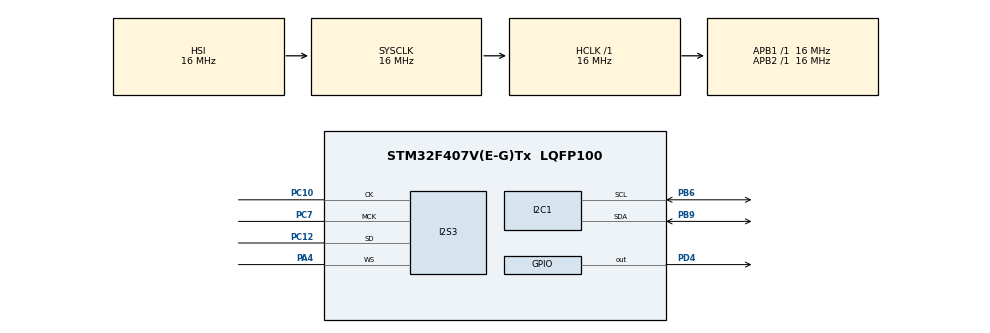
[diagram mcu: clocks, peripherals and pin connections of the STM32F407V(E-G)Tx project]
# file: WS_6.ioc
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Dma.Request0=SPI3_TX
Dma.SPI3_TX.0.Direction=DMA_MEMORY_TO_PERIPH
Dma.SPI3_TX.0.FIFOMode=DMA_FIFOMODE_ENABLE
Dma.SPI3_TX.0.FIFOThreshold=DMA_FIFO_THRESHOLD_FULL
Dma.SPI3_TX.0.Instance=DMA1_Stream5
Dma.SPI3_TX.0.MemBurst=DMA_MBURST_SINGLE
Dma.SPI3_TX.0.MemDataAlignment=DMA_MDATAALIGN_HALFWORD
Dma.SPI3_TX.0.MemInc=DMA_MINC_ENABLE
Dma.SPI3_TX.0.Mode=DMA_CIRCULAR
Dma.SPI3_TX.0.PeriphBurst=DMA_PBURST_SINGLE
Dma.SPI3_TX.0.PeriphDataAlignment=DMA_PDATAALIGN_HALFWORD
Dma.SPI3_TX.0.PeriphInc=DMA_PINC_DISABLE
Dma.SPI3_TX.0.Priority=DMA_PRIORITY_LOW
I2S3.AudioFreq=I2S_AUDIOFREQ_48K
I2S3.ErrorAudioFreq=-2.34 %
I2S3.FullDuplexMode=I2S_FULLDUPLEXMODE_DISABLE
I2S3.Instance=SPI$Index
I2S3.RealAudioFreq=46.875 KHz
I2S3.VirtualMode=I2S_MODE_MASTER
Mcu.Family=STM32F4
Mcu.Name=STM32F407V(E-G)Tx
Mcu.Package=LQFP100
NVIC.DMA1_Stream5_IRQn=true\:0\:0\:false\:false\:true\:false\:true\:true
NVIC.PriorityGroup=NVIC_PRIORITYGROUP_4
PA4.Mode=Half_Duplex_Master
PA4.Signal=I2S3_WS
PB6.Mode=I2C
PB6.Signal=I2C1_SCL
PB9.Mode=I2C
PB9.Signal=I2C1_SDA
PC10.Mode=Half_Duplex_Master
PC10.Signal=I2S3_CK
PC12.Mode=Half_Duplex_Master
PC12.Signal=I2S3_SD
PC7.Mode=Master_Clock_Activated
PC7.Signal=I2S3_MCK
PD4.Signal=GPIO_Output
ProjectManager.HeapSize=0x200
ProjectManager.StackSize=0x400
ProjectManager.TargetToolchain=STM32CubeIDE
RCC.AHBFreq_Value=16000000
RCC.APB1Freq_Value=16000000
RCC.APB2Freq_Value=16000000
RCC.CortexFreq_Value=16000000
RCC.HSE_VALUE=25000000
RCC.HSI_VALUE=16000000
RCC.LSE_VALUE=32768
RCC.SYSCLKFreq_VALUE=16000000
RCC.VCOOutputFreq_Value=192000000
board=custom

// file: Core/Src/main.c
/* USER CODE BEGIN Header */
/**
  ******************************************************************************
  * @file           : main.c
  * @brief          : Main program body
  ******************************************************************************
  * @attention
  *
  * Copyright (c) 2025 STMicroelectronics.
  * All rights reserved.
  *
  * This software is licensed under terms that can be found in the LICENSE file
  * in the root directory of this software component.
  * If no LICENSE file comes with this software, it is provided AS-IS.
  *
  ******************************************************************************
  */
/* USER CODE END Header */
#include "main.h"

/* USER CODE BEGIN PTD */
typedef enum
{
	C4, // 0x0
	C5, // 0x1
	D5, // 0x2
	E5, // 0x3
	F5, // 0x4
	G5, // 0x5
	A5, // 0x6
	B5, // 0x7
	C6, // 0x8
	D6, // 0x9
	E6, // 0xA
	F6, // 0xB
	G6, // 0xC
	A6, // 0xD
	B6, // 0xE
	C7, // 0xF
	MAX_VALUE
} soundToneType;
/* USER CODE END PTD */

/* USER CODE BEGIN PD */
#define CS43L22_I2C_ADDRESS		0x94
#define I2C_TIMEOUT				10
/* USER CODE END PD */

I2C_HandleTypeDef hi2c1;

I2S_HandleTypeDef hi2s3;
DMA_HandleTypeDef hdma_spi3_tx;

/* USER CODE BEGIN PV */
int16_t dataI2S[100] = {0};
/* USER CODE END PV */

void SystemClock_Config(void);
static void MX_GPIO_Init(void);
static void MX_DMA_Init(void);
static void MX_I2C1_Init(void);
static void MX_I2S3_Init(void);

/* USER CODE BEGIN 0 */
void CS43L22_Init(void)
{
	// Enable chip
	HAL_GPIO_WritePin(GPIOD, GPIO_PIN_4, GPIO_PIN_SET);

	//
	// Initialization
	//
	uint8_t TxBuffer[2];

	TxBuffer[0] = 0x0D;
	TxBuffer[1] = 0x01;
	HAL_I2C_Master_Transmit(&hi2c1, CS43L22_I2C_ADDRESS, (uint8_t*) &TxBuffer, 2, I2C_TIMEOUT);

	TxBuffer[0] = 0x00;
	TxBuffer[1] = 0x99;
	HAL_I2C_Master_Transmit(&hi2c1, CS43L22_I2C_ADDRESS, (uint8_t*) &TxBuffer, 2, I2C_TIMEOUT);

	TxBuffer[0] = 0x47;
	TxBuffer[1] = 0x80;
	HAL_I2C_Master_Transmit(&hi2c1, CS43L22_I2C_ADDRESS, (uint8_t*) &TxBuffer, 2, I2C_TIMEOUT);

	TxBuffer[0] = 0x32;
	TxBuffer[1] = 0xFF;
	HAL_I2C_Master_Transmit(&hi2c1, CS43L22_I2C_ADDRESS, (uint8_t*) &TxBuffer, 2, I2C_TIMEOUT);

	TxBuffer[0] = 0x32;
	TxBuffer[1] = 0x7F;
	HAL_I2C_Master_Transmit(&hi2c1, CS43L22_I2C_ADDRESS, (uint8_t*) &TxBuffer, 2, I2C_TIMEOUT);

	TxBuffer[0] = 0x00;
	TxBuffer[1] = 0x00;
	HAL_I2C_Master_Transmit(&hi2c1, CS43L22_I2C_ADDRESS, (uint8_t*) &TxBuffer, 2, I2C_TIMEOUT);

	TxBuffer[0] = 0x04;
	TxBuffer[1] = 0xAF;
	HAL_I2C_Master_Transmit(&hi2c1, CS43L22_I2C_ADDRESS, (uint8_t*) &TxBuffer, 2, I2C_TIMEOUT);

	TxBuffer[0] = 0x0D;
	TxBuffer[1] = 0x70;
	HAL_I2C_Master_Transmit(&hi2c1, CS43L22_I2C_ADDRESS, (uint8_t*) &TxBuffer, 2, I2C_TIMEOUT);

	TxBuffer[0] = 0x05;
	TxBuffer[1] = 0x81;
	HAL_I2C_Master_Transmit(&hi2c1, CS43L22_I2C_ADDRESS, (uint8_t*) &TxBuffer, 2, I2C_TIMEOUT);

	TxBuffer[0] = 0x06;
	TxBuffer[1] = 0x07;
	HAL_I2C_Master_Transmit(&hi2c1, CS43L22_I2C_ADDRESS, (uint8_t*) &TxBuffer, 2, I2C_TIMEOUT);

	TxBuffer[0] = 0x0A;
	TxBuffer[1] = 0x00;
	HAL_I2C_Master_Transmit(&hi2c1, CS43L22_I2C_ADDRESS, (uint8_t*) &TxBuffer, 2, I2C_TIMEOUT);

	TxBuffer[0] = 0x27;
	TxBuffer[1] = 0x00;
	HAL_I2C_Master_Transmit(&hi2c1, CS43L22_I2C_ADDRESS, (uint8_t*) &TxBuffer, 2, I2C_TIMEOUT);

	TxBuffer[0] = 0x1A;
	TxBuffer[1] = 0x0A;
	HAL_I2C_Master_Transmit(&hi2c1, CS43L22_I2C_ADDRESS, (uint8_t*) &TxBuffer, 2, I2C_TIMEOUT);

	TxBuffer[0] = 0x1B;
	TxBuffer[1] = 0x0A;
	HAL_I2C_Master_Transmit(&hi2c1, CS43L22_I2C_ADDRESS, (uint8_t*) &TxBuffer, 2, I2C_TIMEOUT);

	TxBuffer[0] = 0x1F;
	TxBuffer[1] = 0x0F;
	HAL_I2C_Master_Transmit(&hi2c1, CS43L22_I2C_ADDRESS, (uint8_t*) &TxBuffer, 2, I2C_TIMEOUT);

	TxBuffer[0] = 0x02;
	TxBuffer[1] = 0x9E;
	HAL_I2C_Master_Transmit(&hi2c1, CS43L22_I2C_ADDRESS, (uint8_t*) &TxBuffer, 2, I2C_TIMEOUT);
}

void CS43L22_Beep(soundToneType pitch, uint32_t duration_ms)
{
	uint8_t TxBuffer[2];

	// Set volume and off time
	TxBuffer[0] = 0x1D;		// Register address
	TxBuffer[1] = 0x00;		// Value (volume and off time)
	HAL_I2C_Master_Transmit(&hi2c1, CS43L22_I2C_ADDRESS, (uint8_t*) &TxBuffer, 2, I2C_TIMEOUT);

	// Set sound frequency
	TxBuffer[0] = 0x1C;		// Register address
	switch (pitch)
	{
	        case C4:
				TxBuffer[1] = 0x00;    // Value (frequency and on time)
				break;
			case C5:
				TxBuffer[1] = 0x10;
				break;
			case D5:
				TxBuffer[1] = 0x20;
				break;
			case E5:
				TxBuffer[1] = 0x30;
				break;
			case F5:
				TxBuffer[1] = 0x40;
				break;
			case G5:
				TxBuffer[1] = 0x50;
				break;
			case A5:
				TxBuffer[1] = 0x60;
				break;
			case B5:
				TxBuffer[1] = 0x70;
				break;
			case C6:
				TxBuffer[1] = 0x80;
				break;
			case D6:
				TxBuffer[1] = 0x90;
				break;
			case E6:
				TxBuffer[1] = 0xA0;
				break;
			case F6:
				TxBuffer[1] = 0xB0;
				break;
			case G6:
				TxBuffer[1] = 0xC0;
				break;
			case A6:
				TxBuffer[1] = 0xD0;
				break;
			case B6:
				TxBuffer[1] = 0xE0;
				break;
			case C7:
				TxBuffer[1] = 0xF0;
				break;
		// Assume C4 for all other cases
		case MAX_VALUE:
		default:
			TxBuffer[1] = 0x00;		// Value (frequency and on time)
			break;
	}
	HAL_I2C_Master_Transmit(&hi2c1, CS43L22_I2C_ADDRESS, (uint8_t*) &TxBuffer, 2, I2C_TIMEOUT);

	// Enable continuous mode (SOUND STARTED)
	TxBuffer[0] = 0x1E;		// Register address
	TxBuffer[1] = 0xC0;		// Value (beep and tone configuration)
	HAL_I2C_Master_Transmit(&hi2c1, CS43L22_I2C_ADDRESS, (uint8_t*) &TxBuffer, 2, I2C_TIMEOUT);

	// Playing...
	HAL_Delay(duration_ms);

	// Disable continuous mode (SOUND STOPED)
	TxBuffer[0] = 0x1E;		// Register address
	TxBuffer[1] = 0x00;		// Value (beep and tone configuration)
	HAL_I2C_Master_Transmit(&hi2c1, CS43L22_I2C_ADDRESS, (uint8_t*) &TxBuffer, 2, I2C_TIMEOUT);
}
/* USER CODE END 0 */

int main(void)
{

  /* MCU Configuration--------------------------------------------------------*/

  /* Reset of all peripherals, Initializes the Flash interface and the Systick. */
  HAL_Init();

  /* Configure the system clock */
  SystemClock_Config();

  /* Initialize all configured peripherals */
  MX_GPIO_Init();
  MX_DMA_Init();
  MX_I2C1_Init();
  MX_I2S3_Init();
  /* USER CODE BEGIN 2 */
  // Init DAC
    CS43L22_Init();

    // Transmit empty data
    HAL_I2S_Transmit_DMA(&hi2s3, (uint16_t *)dataI2S, 100);
  /* USER CODE END 2 */

  /* Infinite loop */
  /* USER CODE BEGIN WHILE */
    /* USER CODE BEGIN WHILE */
    /* USER CODE BEGIN WHILE */
      while (1)
      {
          // --- Фраза 1: "Si-lent Night" ---
          CS43L22_Beep(G5, 642);  // Sol (dotted quarter)
          CS43L22_Beep(A5, 214);  // La (eighth)
          CS43L22_Beep(G5, 428);  // Sol (quarter)
          CS43L22_Beep(E5, 1285); // Mi (dotted half)

          // --- Фраза 2: "Ho-ly Night" ---
          CS43L22_Beep(G5, 642);  // Sol
          CS43L22_Beep(A5, 214);  // La
          CS43L22_Beep(G5, 428);  // Sol
          CS43L22_Beep(E5, 1285); // Mi

          // --- Фраза 3: "All is calm" ---
          CS43L22_Beep(D6, 857);  // Re (high) (half)
          CS43L22_Beep(D6, 428);  // Re (high) (quarter)
          CS43L22_Beep(B5, 1285); // Si (dotted half)

          // --- Фраза 4: "All is bright" ---
          CS43L22_Beep(C6, 857);  // Do (high) (half)
          CS43L22_Beep(C6, 428);  // Do (high) (quarter)
          CS43L22_Beep(G5, 1285); // Sol (dotted half)

          // --- Фраза 5: "Round yon Virgin..." ---
          CS43L22_Beep(A5, 857);  // La (half)
          CS43L22_Beep(A5, 428);  // La (quarter)
          CS43L22_Beep(C6, 642);  // Do (high) (dotted quarter)
          CS43L22_Beep(B5, 214);  // Si (eighth)
          CS43L22_Beep(A5, 428);  // La (quarter)

          // --- Фраза 6: "...Mother and Child" ---
          CS43L22_Beep(G5, 642);  // Sol
          CS43L22_Beep(A5, 214);  // La
          CS43L22_Beep(G5, 428);  // Sol
          CS43L22_Beep(E5, 1285); // Mi

          // --- Фраза 7: "Holy Infant so..." (повтор мотиву) ---
          CS43L22_Beep(A5, 857);  // La
          CS43L22_Beep(A5, 428);  // La
          CS43L22_Beep(C6, 642);  // Do (high)
          CS43L22_Beep(B5, 214);  // Si
          CS43L22_Beep(A5, 428);  // La

          // --- Фраза 8: "...tender and mild" ---
          CS43L22_Beep(G5, 642);  // Sol
          CS43L22_Beep(A5, 214);  // La
          CS43L22_Beep(G5, 428);  // Sol
          CS43L22_Beep(E5, 1285); // Mi

          // --- Фраза 9: "Sleep in heavenly peace" ---
          CS43L22_Beep(D6, 857);  // Re (high)
          CS43L22_Beep(D6, 428);  // Re (high)
          CS43L22_Beep(F6, 642);  // Fa (high)
          CS43L22_Beep(D6, 214);  // Re (high)
          CS43L22_Beep(B5, 428);  // Si
          CS43L22_Beep(C6, 1285); // Do (high)

          // --- Фраза 10: "Sleep in heavenly peace" (фінал) ---
          CS43L22_Beep(E6, 1285); // Mi (high) - перехід

          CS43L22_Beep(C6, 428);  // Do (high)
          CS43L22_Beep(G5, 428);  // Sol
          CS43L22_Beep(E5, 428);  // Mi
          CS43L22_Beep(G5, 642);  // Sol
          CS43L22_Beep(F5, 214);  // Fa
          CS43L22_Beep(D5, 428);  // Re

          CS43L22_Beep(C5, 1285); // Do (dotted half)
          CS43L22_Beep(C5, 2571); // Do (dotted whole - затухання)

          // Пауза перед повтором
          HAL_Delay(3000);
      }
      /* USER CODE END WHILE */
      /* USER CODE END WHILE */
  /* USER CODE END 3 */
}

void SystemClock_Config(void)
{
  RCC_OscInitTypeDef RCC_OscInitStruct = {0};
  RCC_ClkInitTypeDef RCC_ClkInitStruct = {0};

  /** Macro to configure the PLL multiplication factor
  */
  __HAL_RCC_PLL_PLLM_CONFIG(16);

  /** Macro to configure the PLL clock source
  */
  __HAL_RCC_PLL_PLLSOURCE_CONFIG(RCC_PLLSOURCE_HSI);

  /** Configure the main internal regulator output voltage
  */
  __HAL_RCC_PWR_CLK_ENABLE();
  __HAL_PWR_VOLTAGESCALING_CONFIG(PWR_REGULATOR_VOLTAGE_SCALE1);

  /** Initializes the RCC Oscillators according to the specified parameters
  * in the RCC_OscInitTypeDef structure.
  */
  RCC_OscInitStruct.OscillatorType = RCC_OSCILLATORTYPE_HSI;
  RCC_OscInitStruct.HSIState = RCC_HSI_ON;
  RCC_OscInitStruct.HSICalibrationValue = RCC_HSICALIBRATION_DEFAULT;
  RCC_OscInitStruct.PLL.PLLState = RCC_PLL_NONE;
  RCC_OscInitStruct.PLL.PLLSource = RCC_PLLSOURCE_HSI;
  if (HAL_RCC_OscConfig(&RCC_OscInitStruct) != HAL_OK)
  {
    Error_Handler();
  }

  /** Initializes the CPU, AHB and APB buses clocks
  */
  RCC_ClkInitStruct.ClockType = RCC_CLOCKTYPE_HCLK|RCC_CLOCKTYPE_SYSCLK
                              |RCC_CLOCKTYPE_PCLK1|RCC_CLOCKTYPE_PCLK2;
  RCC_ClkInitStruct.SYSCLKSource = RCC_SYSCLKSOURCE_HSI;
  RCC_ClkInitStruct.AHBCLKDivider = RCC_SYSCLK_DIV1;
  RCC_ClkInitStruct.APB1CLKDivider = RCC_HCLK_DIV1;
  RCC_ClkInitStruct.APB2CLKDivider = RCC_HCLK_DIV1;

  if (HAL_RCC_ClockConfig(&RCC_ClkInitStruct, FLASH_LATENCY_0) != HAL_OK)
  {
    Error_Handler();
  }
}

static void MX_I2C1_Init(void)
{

  hi2c1.Instance = I2C1;
  hi2c1.Init.ClockSpeed = 100000;
  hi2c1.Init.DutyCycle = I2C_DUTYCYCLE_2;
  hi2c1.Init.OwnAddress1 = 0;
  hi2c1.Init.AddressingMode = I2C_ADDRESSINGMODE_7BIT;
  hi2c1.Init.DualAddressMode = I2C_DUALADDRESS_DISABLE;
  hi2c1.Init.OwnAddress2 = 0;
  hi2c1.Init.GeneralCallMode = I2C_GENERALCALL_DISABLE;
  hi2c1.Init.NoStretchMode = I2C_NOSTRETCH_DISABLE;
  if (HAL_I2C_Init(&hi2c1) != HAL_OK)
  {
    Error_Handler();
  }

}

static void MX_I2S3_Init(void)
{

  hi2s3.Instance = SPI3;
  hi2s3.Init.Mode = I2S_MODE_MASTER_TX;
  hi2s3.Init.Standard = I2S_STANDARD_PHILIPS;
  hi2s3.Init.DataFormat = I2S_DATAFORMAT_16B;
  hi2s3.Init.MCLKOutput = I2S_MCLKOUTPUT_ENABLE;
  hi2s3.Init.AudioFreq = I2S_AUDIOFREQ_48K;
  hi2s3.Init.CPOL = I2S_CPOL_LOW;
  hi2s3.Init.ClockSource = I2S_CLOCK_PLL;
  hi2s3.Init.FullDuplexMode = I2S_FULLDUPLEXMODE_DISABLE;
  if (HAL_I2S_Init(&hi2s3) != HAL_OK)
  {
    Error_Handler();
  }

}

static void MX_DMA_Init(void)
{

  /* DMA controller clock enable */
  __HAL_RCC_DMA1_CLK_ENABLE();

  /* DMA interrupt init */
  /* DMA1_Stream5_IRQn interrupt configuration */
  HAL_NVIC_SetPriority(DMA1_Stream5_IRQn, 0, 0);
  HAL_NVIC_EnableIRQ(DMA1_Stream5_IRQn);

}

static void MX_GPIO_Init(void)
{
  GPIO_InitTypeDef GPIO_InitStruct = {0};

  /* GPIO Ports Clock Enable */
  __HAL_RCC_GPIOA_CLK_ENABLE();
  __HAL_RCC_GPIOC_CLK_ENABLE();
  __HAL_RCC_GPIOD_CLK_ENABLE();
  __HAL_RCC_GPIOB_CLK_ENABLE();

  /*Configure GPIO pin Output Level */
  HAL_GPIO_WritePin(GPIOD, GPIO_PIN_4, GPIO_PIN_RESET);

  /*Configure GPIO pin : PD4 */
  GPIO_InitStruct.Pin = GPIO_PIN_4;
  GPIO_InitStruct.Mode = GPIO_MODE_OUTPUT_PP;
  GPIO_InitStruct.Pull = GPIO_NOPULL;
  GPIO_InitStruct.Speed = GPIO_SPEED_FREQ_LOW;
  HAL_GPIO_Init(GPIOD, &GPIO_InitStruct);

}

void Error_Handler(void)
{
  __disable_irq();
  while (1)
  {
  }
}
